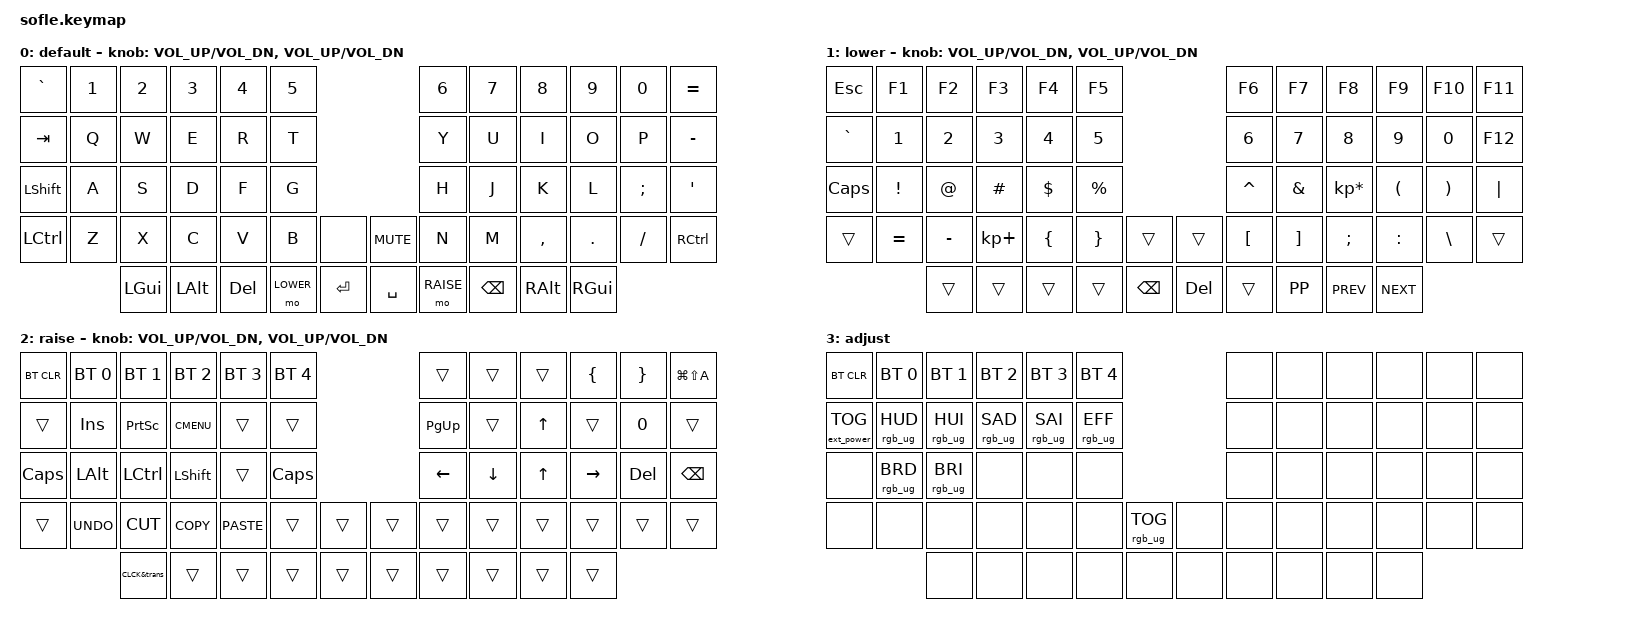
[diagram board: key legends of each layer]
/*
 * Copyright (c) 2020 The ZMK Contributors
 *
 * SPDX-License-Identifier: MIT
 */

#include <behaviors.dtsi>
#include <dt-bindings/zmk/keys.h>
#include <dt-bindings/zmk/bt.h>
#include <dt-bindings/zmk/rgb.h>
#include <dt-bindings/zmk/ext_power.h>

#define BASE 0
#define LOWER 1
#define RAISE 2
#define ADJUST 3

/ {

   // Activate ADJUST layer by pressing raise and lower
    conditional_layers {
        compatible = "zmk,conditional-layers";
        adjust_layer {
            if-layers = <LOWER RAISE>;
            then-layer = <ADJUST>;
        };
    };

    keymap {
        compatible = "zmk,keymap";

        default_layer {
            display-name = "default";
// ------------------------------------------------------------------------------------------------------------
// |   `   |  1  |  2  |  3   |  4   |  5   |                   |  6   |  7    |  8    |  9   |   0   |    equal   |
// |  tab  |  Q  |  W  |  E   |  R   |  T   |                   |  Y   |  U    |  I    |  O   |   P   | minus |
// |  shift  |  A  |  S  |  D   |  F   |  G   |                   |  H   |  J    |  K    |  L   |   ;   |   '   |
// | ctrl |  Z  |  X  |  C   |  V   |  B   |        |  | MUTE  |  N   |  M    |  ,    |  .   |   /   | \ |
//               | GUI | ALT  | del | LOWER|  ENTER |  | SPACE | RAISE| bsp  | ALT   | GUI  |
            bindings = <
&kp GRAVE &kp N1 &kp N2   &kp N3   &kp N4    &kp N5                           &kp N6 &kp N7    &kp N8    &kp N9   &kp N0   &kp EQUAL
&kp TAB   &kp Q  &kp W    &kp E    &kp R     &kp T                            &kp Y  &kp U     &kp I     &kp O    &kp P    &kp MINUS
&kp LSHFT &kp A  &kp S    &kp D    &kp F     &kp G                            &kp H  &kp J     &kp K     &kp L    &kp SEMI &kp SQT
&kp LCTRL &kp Z  &kp X    &kp C    &kp V     &kp B      &none &kp C_MUTE      &kp N  &kp M     &kp COMMA &kp DOT  &kp FSLH &kp RCTRL
                 &kp LGUI &kp LALT &kp DEL &mo LOWER  &kp RET    &kp SPACE  &mo RAISE  &kp BSPC &kp RALT  &kp RGUI
            >;

            sensor-bindings = <&inc_dec_kp C_VOL_UP C_VOL_DN &inc_dec_kp C_VOL_UP C_VOL_DN>;
        };

        lower_layer {
            display-name = "lower";
// TODO: Some binds are waiting for shifted keycode support.
// ------------------------------------------------------------------------------------------------------------
// |  esc  |  F1 |  F2 |  F3  |  F4  |  F5  |                   |  F6  |  F7   |  F8   |  F9  |  F10  |  F11  |
// |   `   |  1  |  2  |  3   |  4   |  5   |                   |  6   |  7    |  8    |  9   |   0   |  F12  |
// |  CAPS |  !  |  @  |  #   |  $   |  %   |                   |  ^   |  &    |  *    |  (   |   )   |   |   |
// |       |  =  |  -  |  +   |  {   |  }   |        |  |       |  [   |  ]    |  ;    |  :   |   \   |       |
//               |     |      |      |      |        |  |       |      |       |       |      |
            bindings = <
&kp ESC    &kp F1    &kp F2    &kp F3      &kp F4    &kp F5                    &kp F6    &kp F7   &kp F8          &kp F9    &kp F10   &kp F11
&kp GRAVE  &kp N1    &kp N2    &kp N3      &kp N4    &kp N5                    &kp N6    &kp N7   &kp N8          &kp N9    &kp N0    &kp F12
&kp CLCK   &kp EXCL  &kp AT    &kp HASH    &kp DLLR  &kp PRCNT                 &kp CARET &kp AMPS &kp KP_MULTIPLY &kp LPAR  &kp RPAR  &kp PIPE
&trans     &kp EQUAL &kp MINUS &kp KP_PLUS &kp LBRC  &kp RBRC   &trans &trans  &kp LBKT  &kp RBKT &kp SEMI        &kp COLON &kp BSLH  &trans
&trans    &trans      &trans    &trans    &kp BSPC   &kp DEL    &trans    &kp K_PP   &kp K_PREV          &kp K_NEXT
            >;

            sensor-bindings = <&inc_dec_kp C_VOL_UP C_VOL_DN &inc_dec_kp C_VOL_UP C_VOL_DN>;
        };

        raise_layer {
            display-name = "raise";
// ------------------------------------------------------------------------------------------------------------
// | BTCLR | BT1  | BT2  |  BT3  |  BT4  |  BT5 |                |      |      |       |  {   |  }   |   mute mic    |
// |       | INS  | PSCR | GUI   |       |      |                | PGUP |      |   ^   |      |       |       |
// |  CAPS | ALT  | CTRL | SHIFT |       | CAPS |                | LEFT | DOWN |   UP  | RIGHT|  DEL  | BKSPC |
// |       | UNDO | CUT  | COPY  | PASTE |      |      |  |      |      |      |       |      |       |       |
//                |      |       |       |      |      |  |      |      |      |       |      |
            bindings = <
&bt BT_CLR &bt BT_SEL 0 &bt BT_SEL 1 &bt BT_SEL 2 &bt BT_SEL 3 &bt BT_SEL 4                  &trans    &trans    &trans   &kp LBRC  &kp RBRC  &kp LG(LS(A))
&trans     &kp INS      &kp PSCRN    &kp K_CMENU  &trans       &trans                        &kp PG_UP &trans    &kp UP   &trans    &kp N0  &trans
&kp CLCK   &kp LALT     &kp LCTRL    &kp LSHFT    &trans       &kp CLCK                      &kp LEFT &kp DOWN &kp UP &kp RIGHT &kp DEL &kp BSPC
&trans     &kp K_UNDO   &kp K_CUT    &kp K_COPY   &kp K_PASTE  &trans        &trans  &trans  &trans    &trans    &trans   &trans    &trans  &trans
                        &kp CLCK&trans       &trans       &trans       &trans        &trans  &trans  &trans    &trans    &trans   &trans
            >;

            sensor-bindings = <&inc_dec_kp C_VOL_UP C_VOL_DN &inc_dec_kp C_VOL_UP C_VOL_DN>;
        };

        adjust_layer {
// ----------------------------------------------------------------------------------------------------------------------------
// | BTCLR  |  BT1    |  BT2    |   BT3   |   BT4   |   BT5   |                  |      |      |       |      |       |       |
// | EXTPWR | RGB_HUD | RGB_HUI | RGB_SAD | RGB_SAI | RGB_EFF |                  |      |      |       |      |       |       |
// |        | RGB_BRD | RGB_BRI |         |         |         |                  |      |      |       |      |       |       |
// |        |         |         |         |         |         | RGB_TOG | |      |      |      |       |      |       |       |
//                    |         |         |         |         |         | |      |      |      |       |      |
            display-name = "adjust";
            bindings = <
&bt BT_CLR        &bt BT_SEL 0    &bt BT_SEL 1    &bt BT_SEL 2    &bt BT_SEL 3    &bt BT_SEL 4                            &none &none &none &none &none &none
&ext_power EP_TOG &rgb_ug RGB_HUD &rgb_ug RGB_HUI &rgb_ug RGB_SAD &rgb_ug RGB_SAI &rgb_ug RGB_EFF                         &none &none &none &none &none &none
&none             &rgb_ug RGB_BRD &rgb_ug RGB_BRI &none           &none           &none                                   &none &none &none &none &none &none
&none             &none           &none           &none           &none           &none            &rgb_ug RGB_TOG &none  &none &none &none &none &none &none
                                  &none           &none           &none           &none            &none           &none  &none &none &none &none
            >;
        };

    };
};
